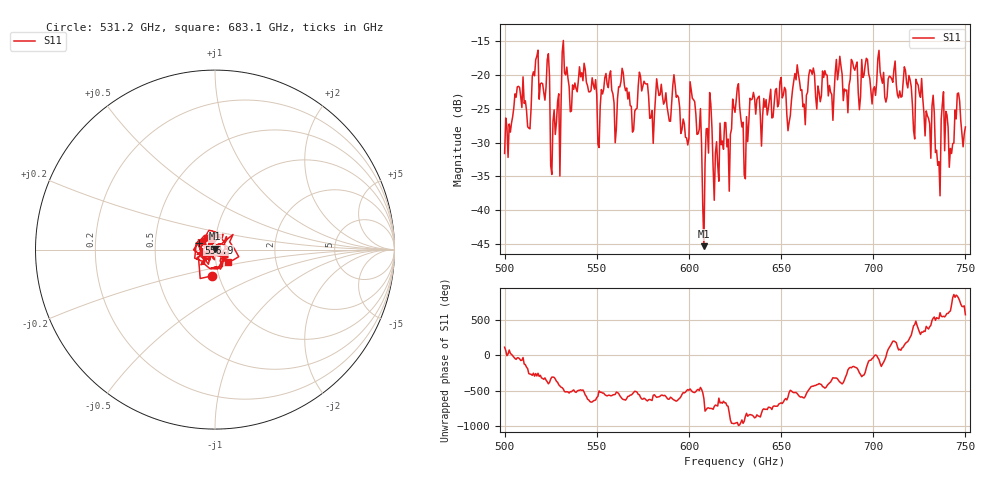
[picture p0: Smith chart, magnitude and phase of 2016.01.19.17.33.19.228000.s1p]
!Created with skrf (http://scikit-rf.org).
# GHz S RI R 50.0
!freq ReS11 ImS11
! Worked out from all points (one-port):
!   401 points, 500 GHz to 750 GHz, reference 50 ohm
!   lowest |S11| = -45.4 dB at 608.1 GHz (marker M1), VSWR 1.01, Z = 49.8 + j0.508 ohm
!   |S11| at or under -10 dB: start of sweep to end of sweep
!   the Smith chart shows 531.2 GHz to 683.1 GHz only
!   S11 on the Smith chart (normalised r, x): 531.2 GHz: 0.92, -0.28; 556.9 GHz: 0.83, +0.07; 683.1 GHz: 1.15, -0.16
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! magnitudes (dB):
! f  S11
! 500 GHz  -31.6
! 506.9 GHz  -21.7
! 513.1 GHz  -27.8
! 516.9 GHz  -17.7
! 523.1 GHz  -17.7
! 526.2 GHz  -26.8
! 531.2 GHz  -16.6
! 542.5 GHz  -20.8
! 551.2 GHz  -30.7
! 556.9 GHz  -20.0
! 562.5 GHz  -21.8
! 593.8 GHz  -23.0
! 598.8 GHz  -29.3
! 601.9 GHz  -23.4
! 608.1 GHz  -45.4
! 610.6 GHz  -31.6
! 615 GHz  -29.9
! 625 GHz  -25.5
! 631.2 GHz  -26.1
! 634.4 GHz  -23.5
! 656.2 GHz  -22.1
! 683.1 GHz  -19.9
! 687.5 GHz  -20.6
! 718.8 GHz  -21.9
! 733.1 GHz  -25.6
! 735 GHz  -33.4
! 738.1 GHz  -22.5
! 750 GHz  -27.7
